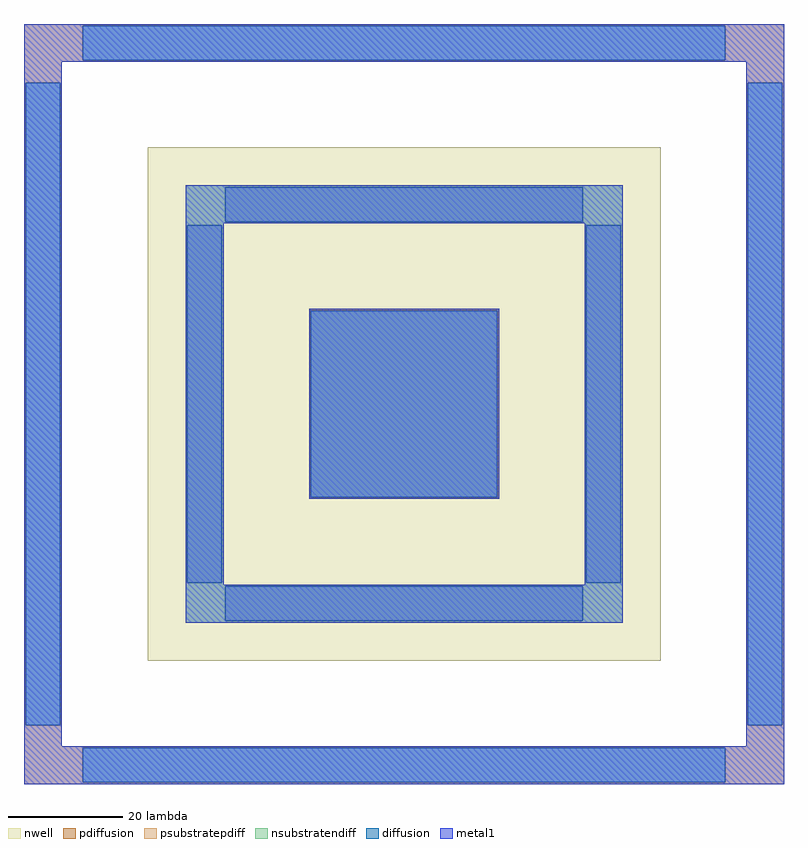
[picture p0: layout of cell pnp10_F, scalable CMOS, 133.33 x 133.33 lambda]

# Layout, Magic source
magic
tech scmos
magscale 1 3
<< nwell >>
rect 110 110 380 380
<< diffusion >>
rect 76 426 414 444
rect 46 76 64 414
rect 151 341 339 359
rect 131 151 149 339
rect 196 196 294 294
rect 341 151 359 339
rect 151 131 339 149
rect 426 76 444 414
rect 76 46 414 64
<< pdiffusion >>
rect 195 294 295 295
rect 195 196 196 294
rect 294 196 295 294
rect 195 195 295 196
<< psubstratepdiff >>
rect 45 444 445 445
rect 45 426 76 444
rect 414 426 445 444
rect 45 425 445 426
rect 45 414 65 425
rect 45 76 46 414
rect 64 76 65 414
rect 425 414 445 425
rect 45 65 65 76
rect 425 76 426 414
rect 444 76 445 414
rect 425 65 445 76
rect 45 64 445 65
rect 45 46 76 64
rect 414 46 445 64
rect 45 45 445 46
<< nsubstratendiff >>
rect 130 359 360 360
rect 130 341 151 359
rect 339 341 360 359
rect 130 340 360 341
rect 130 339 150 340
rect 130 151 131 339
rect 149 151 150 339
rect 340 339 360 340
rect 130 150 150 151
rect 340 151 341 339
rect 359 151 360 339
rect 340 150 360 151
rect 130 149 360 150
rect 130 131 151 149
rect 339 131 360 149
rect 130 130 360 131
<< metal1 >>
rect 45 425 445 445
rect 45 65 65 425
rect 130 340 360 360
rect 130 150 150 340
rect 195 195 295 295
rect 340 150 360 340
rect 130 130 360 150
rect 425 65 445 425
rect 45 45 445 65
<< end >>
